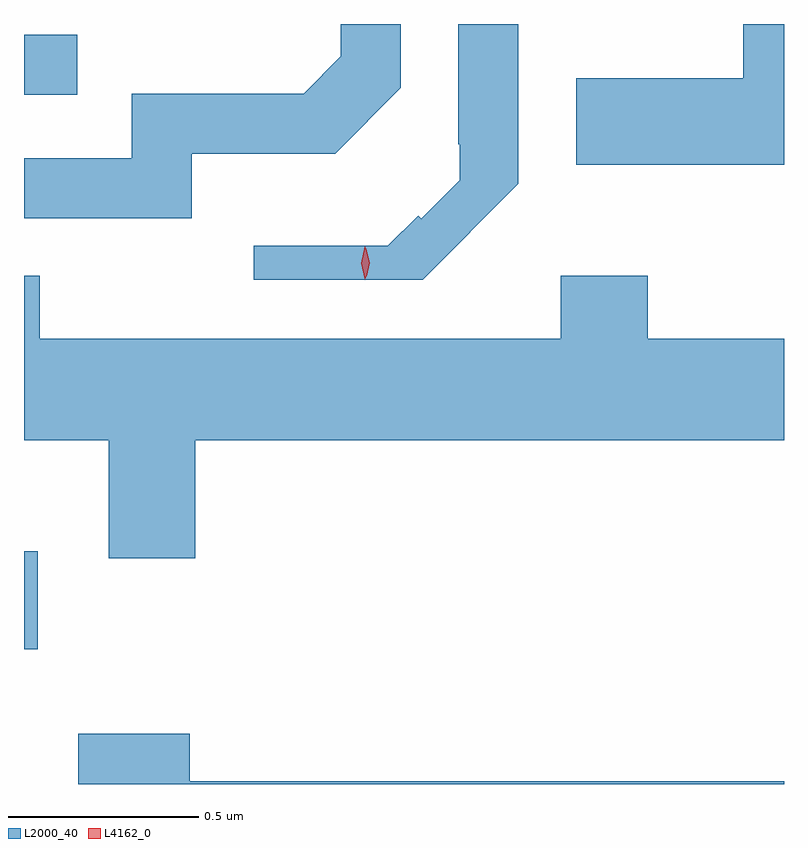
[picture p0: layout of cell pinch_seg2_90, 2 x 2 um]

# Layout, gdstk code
import gdstk
lib = gdstk.Library(unit=1e-6, precision=1e-09)
def R(c, l, rs):  # rectangles x0, y0, x1, y1
    for r in rs: c.add(gdstk.rectangle(r[:2], r[2:], *l))
def P(c, l, *ps):  # polygons
    for p in ps: c.add(gdstk.Polygon(p, *l))
L2000_40 = (2000, 40)
L4162_0 = (4162, 0)

pinch_seg2_90 = lib.new_cell('pinch_seg2_90')
R(pinch_seg2_90, L2000_40, [(1250.348,983.386,1250.384,983.644), (1250.348,984.846,1250.488,985.004)])
P(pinch_seg2_90, L2000_40, [(1251.649,984.612),(1251.649,985.032),(1251.491,985.032),(1251.491,984.715),(1251.495,984.715),(1251.495,984.621),(1251.394,984.52),(1251.386,984.528),(1251.305,984.448),(1250.953,984.448),(1250.953,984.359),(1251.397,984.359)],
  [(1250.789,984.691),(1251.167,984.691),(1251.339,984.864),(1251.339,985.032),(1251.181,985.032),(1251.181,984.947),(1251.084,984.849),(1250.631,984.849),(1250.631,984.679),(1250.348,984.679),(1250.348,984.521),(1250.789,984.521)],
  [(1252.348,985.032),(1252.241,985.032),(1252.241,984.889),(1251.801,984.889),(1251.801,984.661),(1252.348,984.661)],
  [(1250.799,983.936),(1252.348,983.936),(1252.348,984.204),(1251.989,984.204),(1251.989,984.369),(1251.761,984.369),(1251.761,984.204),(1250.389,984.204),(1250.389,984.369),(1250.348,984.369),(1250.348,983.936),(1250.571,983.936),(1250.571,983.626),(1250.799,983.626)],
  [(1252.348,983.039),(1250.784,983.039),(1250.784,983.164),(1250.491,983.164),(1250.491,983.032),(1252.348,983.032)])
P(pinch_seg2_90, L4162_0, [(1251.246,984.36),(1251.245,984.361),(1251.236,984.403),(1251.245,984.446),(1251.246,984.446),(1251.246,984.446),(1251.256,984.403),(1251.246,984.361)],
  [(1251.248,984.368),(1251.239,984.404),(1251.248,984.439),(1251.248,984.44),(1251.249,984.439),(1251.258,984.404),(1251.25,984.368),(1251.249,984.368)])

lib.write_gds('pinch_seg2_90.gds')
